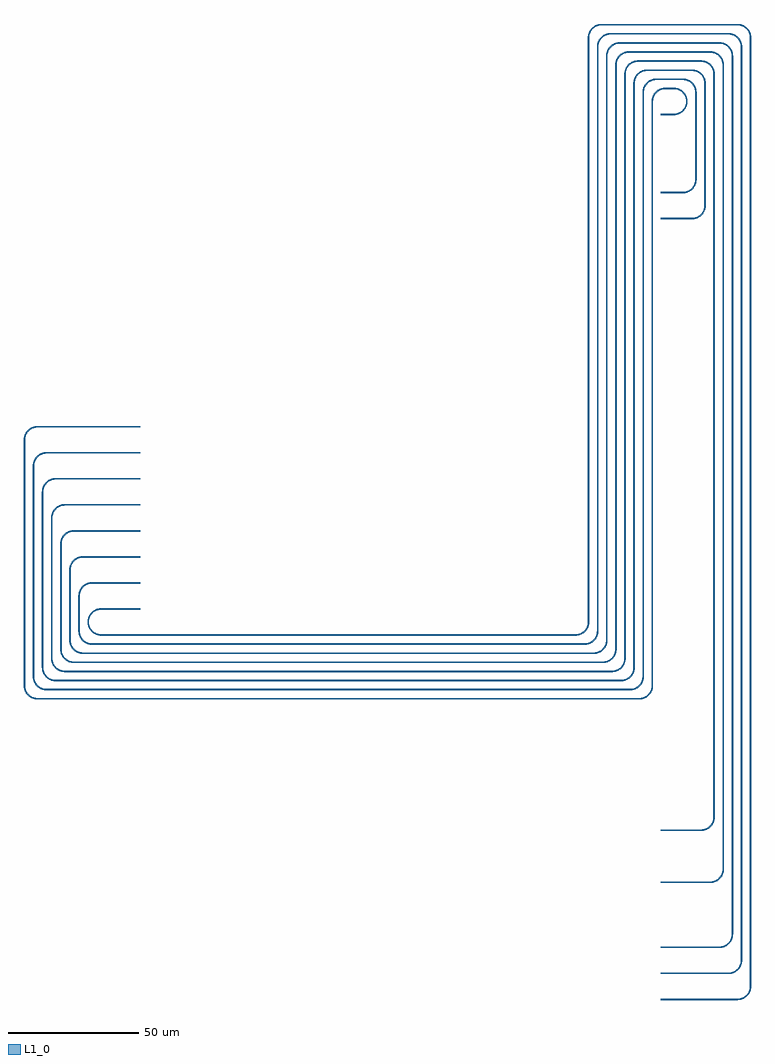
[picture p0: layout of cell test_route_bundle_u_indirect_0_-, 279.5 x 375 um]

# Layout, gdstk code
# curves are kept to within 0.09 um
from math import pi, radians
import gdstk
lib = gdstk.Library(unit=1e-6, precision=1e-09)
def R(c, l, rs):  # rectangles x0, y0, x1, y1
    for r in rs: c.add(gdstk.rectangle(r[:2], r[2:], *l))
def P(c, l, *ps):  # polygons
    for p in ps: c.add(gdstk.Polygon(p, *l))
L1_0 = (1, 0)

straight_gdsfactorypcom_ = lib.new_cell('straight_gdsfactorypcom_8417fc58')
R(straight_gdsfactorypcom_, L1_0, [(0,-0.25,364.5,0.25)])

c_straight_gdsfactorypcom_ = lib.new_cell('straight_gdsfactorypcom_edcb5181')
R(c_straight_gdsfactorypcom_, L1_0, [(0,-0.25,224.5,0.25)])

c_straight_gdsfactorypcom__ = lib.new_cell('straight_gdsfactorypcom_20b59438')
R(c_straight_gdsfactorypcom__, L1_0, [(0,-0.25,182.25,0.25)])

c_straight_gdsfactorypcom___ = lib.new_cell('straight_gdsfactorypcom_01b9a091')
R(c_straight_gdsfactorypcom___, L1_0, [(0,-0.25,351,0.25)])

c_straight_gdsfactorypcom____ = lib.new_cell('straight_gdsfactorypcom_b296d705')
R(c_straight_gdsfactorypcom____, L1_0, [(0,-0.25,189.25,0.25)])

c_straight_gdsfactorypcom_____ = lib.new_cell('straight_gdsfactorypcom_dbdefe28')
R(c_straight_gdsfactorypcom_____, L1_0, [(0,-0.25,337.5,0.25)])

c_straight_gdsfactorypcom______ = lib.new_cell('straight_gdsfactorypcom_ebc55ef1')
R(c_straight_gdsfactorypcom______, L1_0, [(0,-0.25,196.25,0.25)])

c_straight_gdsfactorypcom_______ = lib.new_cell('straight_gdsfactorypcom_8733e8e1')
R(c_straight_gdsfactorypcom_______, L1_0, [(0,-0.25,309,0.25)])

c_straight_gdsfactorypcom________ = lib.new_cell('straight_gdsfactorypcom_ac0ffd27')
R(c_straight_gdsfactorypcom________, L1_0, [(0,-0.25,203.25,0.25)])

c_straight_gdsfactorypcom_________ = lib.new_cell('straight_gdsfactorypcom_a8714b3d')
R(c_straight_gdsfactorypcom_________, L1_0, [(0,-0.25,285.5,0.25)])

c_straight_gdsfactorypcom__________ = lib.new_cell('straight_gdsfactorypcom_e9ce6c8e')
R(c_straight_gdsfactorypcom__________, L1_0, [(0,-0.25,210.25,0.25)])

bend_circular_gdsfactor_ = lib.new_cell('bend_circular_gdsfactor_0c9d0621')
P(bend_circular_gdsfactor_, L1_0, [(0,-0.25),(0,0.25),(0.988,0.354),(1.932,0.661),(2.587,1.016),(3.359,1.641),(3.984,2.413),(4.339,3.068),(4.646,4.012),(4.75,5),(5.25,5),(5.135,3.908),(4.796,2.865),(4.247,1.914),(3.712,1.288),(3.086,0.753),(2.135,0.204),(1.092,-0.135)])

c_straight_gdsfactorypcom___________ = lib.new_cell('straight_gdsfactorypcom_6bdba865')
R(c_straight_gdsfactorypcom___________, L1_0, [(0,-0.25,217.25,0.25)])

c_straight_gdsfactorypcom____________ = lib.new_cell('straight_gdsfactorypcom_1254fcb9')
R(c_straight_gdsfactorypcom____________, L1_0, [(0,-0.25,67.5,0.25)])

c_straight_gdsfactorypcom_____________ = lib.new_cell('straight_gdsfactorypcom_957ae235')
R(c_straight_gdsfactorypcom_____________, L1_0, [(0,-0.25,224.25,0.25)])

c_straight_gdsfactorypcom______________ = lib.new_cell('straight_gdsfactorypcom_6c9425ca')
R(c_straight_gdsfactorypcom______________, L1_0, [(0,-0.25,81,0.25)])

c_straight_gdsfactorypcom_______________ = lib.new_cell('straight_gdsfactorypcom_4bb41971')
R(c_straight_gdsfactorypcom_______________, L1_0, [(0,-0.25,231.25,0.25)])

c_straight_gdsfactorypcom________________ = lib.new_cell('straight_gdsfactorypcom_fe520bd2')
R(c_straight_gdsfactorypcom________________, L1_0, [(0,-0.25,94.5,0.25)])

c_straight_gdsfactorypcom_________________ = lib.new_cell('straight_gdsfactorypcom_619c788f')
R(c_straight_gdsfactorypcom_________________, L1_0, [(0,-0.25,24.25,0.25)])

c_straight_gdsfactorypcom__________________ = lib.new_cell('straight_gdsfactorypcom_d76f548c')
R(c_straight_gdsfactorypcom__________________, L1_0, [(0,-0.25,38.25,0.25)])

c_straight_gdsfactorypcom___________________ = lib.new_cell('straight_gdsfactorypcom_f3e780f9')
R(c_straight_gdsfactorypcom___________________, L1_0, [(0,-0.25,12,0.25)])

c_straight_gdsfactorypcom____________________ = lib.new_cell('straight_gdsfactorypcom_a93c85d6')
R(c_straight_gdsfactorypcom____________________, L1_0, [(0,-0.25,47,0.25)])

c_straight_gdsfactorypcom_____________________ = lib.new_cell('straight_gdsfactorypcom_2e1b5072')
R(c_straight_gdsfactorypcom_____________________, L1_0, [(0,-0.25,17.25,0.25)])

c_straight_gdsfactorypcom______________________ = lib.new_cell('straight_gdsfactorypcom_67743730')
R(c_straight_gdsfactorypcom______________________, L1_0, [(0,-0.25,52.25,0.25)])

c_straight_gdsfactorypcom_______________________ = lib.new_cell('straight_gdsfactorypcom_29adfe89')
R(c_straight_gdsfactorypcom_______________________, L1_0, [(0,-0.25,8.5,0.25)])

c_straight_gdsfactorypcom________________________ = lib.new_cell('straight_gdsfactorypcom_f3b002be')
R(c_straight_gdsfactorypcom________________________, L1_0, [(0,-0.25,33.5,0.25)])

c_straight_gdsfactorypcom_________________________ = lib.new_cell('straight_gdsfactorypcom_f8441c0e')
R(c_straight_gdsfactorypcom_________________________, L1_0, [(0,-0.25,10.25,0.25)])

c_straight_gdsfactorypcom__________________________ = lib.new_cell('straight_gdsfactorypcom_1e25e4af')
R(c_straight_gdsfactorypcom__________________________, L1_0, [(0,-0.25,45.25,0.25)])

c_straight_gdsfactorypcom___________________________ = lib.new_cell('straight_gdsfactorypcom_e8fa81d7')
R(c_straight_gdsfactorypcom___________________________, L1_0, [(0,-0.25,31.25,0.25)])

c_straight_gdsfactorypcom____________________________ = lib.new_cell('straight_gdsfactorypcom_f5657628')
R(c_straight_gdsfactorypcom____________________________, L1_0, [(0,-0.25,5,0.25)])

c_straight_gdsfactorypcom_____________________________ = lib.new_cell('straight_gdsfactorypcom_dbcfb186')
R(c_straight_gdsfactorypcom_____________________________, L1_0, [(0,-0.25,3.25,0.25)])

c_straight_gdsfactorypcom______________________________ = lib.new_cell('straight_gdsfactorypcom_ac2d0620')
R(c_straight_gdsfactorypcom______________________________, L1_0, [(0,-0.25,32.5,0.25)])

c_straight_gdsfactorypcom_______________________________ = lib.new_cell('straight_gdsfactorypcom_056072ab')
R(c_straight_gdsfactorypcom_______________________________, L1_0, [(0,-0.25,36,0.25)])

c_straight_gdsfactorypcom________________________________ = lib.new_cell('straight_gdsfactorypcom_e516d49d')
R(c_straight_gdsfactorypcom________________________________, L1_0, [(0,-0.25,29,0.25)])

c_straight_gdsfactorypcom_________________________________ = lib.new_cell('straight_gdsfactorypcom_18aef842')
R(c_straight_gdsfactorypcom_________________________________, L1_0, [(0,-0.25,39.5,0.25)])

c_straight_gdsfactorypcom__________________________________ = lib.new_cell('straight_gdsfactorypcom_b1e06083')
R(c_straight_gdsfactorypcom__________________________________, L1_0, [(0,-0.25,54,0.25)])

c_straight_gdsfactorypcom___________________________________ = lib.new_cell('straight_gdsfactorypcom_872c1d86')
R(c_straight_gdsfactorypcom___________________________________, L1_0, [(0,-0.25,15,0.25)])

c_straight_gdsfactorypcom____________________________________ = lib.new_cell('straight_gdsfactorypcom_ae74440f')
R(c_straight_gdsfactorypcom____________________________________, L1_0, [(0,-0.25,40.5,0.25)])

c_straight_gdsfactorypcom_____________________________________ = lib.new_cell('straight_gdsfactorypcom_17c3b0b8')
R(c_straight_gdsfactorypcom_____________________________________, L1_0, [(0,-0.25,25.5,0.25)])

c_straight_gdsfactorypcom______________________________________ = lib.new_cell('straight_gdsfactorypcom_5d7bad5d')
R(c_straight_gdsfactorypcom______________________________________, L1_0, [(0,-0.25,13.5,0.25)])

c_straight_gdsfactorypcom_______________________________________ = lib.new_cell('straight_gdsfactorypcom_2bf0a6ae')
R(c_straight_gdsfactorypcom_______________________________________, L1_0, [(0,-0.25,27,0.25)])

c_straight_gdsfactorypcom________________________________________ = lib.new_cell('straight_gdsfactorypcom_d5b5a5a4')
R(c_straight_gdsfactorypcom________________________________________, L1_0, [(0,-0.25,22,0.25)])

c_straight_gdsfactorypcom_________________________________________ = lib.new_cell('straight_gdsfactorypcom_a9db5d26')
R(c_straight_gdsfactorypcom_________________________________________, L1_0, [(0,-0.25,18.5,0.25)])

c_straight_gdsfactorypcom__________________________________________ = lib.new_cell('straight_gdsfactorypcom_a1f03c60')
R(c_straight_gdsfactorypcom__________________________________________, L1_0, [(0,-0.25,15.5,0.25)])

c_straight_gdsfactorypcom___________________________________________ = lib.new_cell('straight_gdsfactorypcom_04b0d241')
R(c_straight_gdsfactorypcom___________________________________________, L1_0, [(0,-0.25,19,0.25)])

c_straight_gdsfactorypcom____________________________________________ = lib.new_cell('straight_gdsfactorypcom_4c7e8790')
R(c_straight_gdsfactorypcom____________________________________________, L1_0, [(0,-0.25,29.5,0.25)])

c_straight_gdsfactorypcom_____________________________________________ = lib.new_cell('straight_gdsfactorypcom_90bf7c3d')
R(c_straight_gdsfactorypcom_____________________________________________, L1_0, [(0,-0.25,22.5,0.25)])

c_straight_gdsfactorypcom______________________________________________ = lib.new_cell('straight_gdsfactorypcom_3da9e238')
R(c_straight_gdsfactorypcom______________________________________________, L1_0, [(0,-0.25,26,0.25)])

test_route_bundle_u_indi = lib.new_cell('test_route_bundle_u_indirect_0_-')
test_route_bundle_u_indi.add(gdstk.Reference(straight_gdsfactorypcom_, (34.5,-95), rotation=pi/2))
test_route_bundle_u_indi.add(gdstk.Reference(c_straight_gdsfactorypcom_, (-27.75,269.5), rotation=3*pi/2))
test_route_bundle_u_indi.add(gdstk.Reference(c_straight_gdsfactorypcom__, (-32.75,40), rotation=pi))
test_route_bundle_u_indi.add(gdstk.Reference(c_straight_gdsfactorypcom___, (31,-85), rotation=pi/2))
test_route_bundle_u_indi.add(gdstk.Reference(c_straight_gdsfactorypcom_, (-24.25,266), rotation=3*pi/2))
test_route_bundle_u_indi.add(gdstk.Reference(c_straight_gdsfactorypcom____, (-29.25,36.5), rotation=pi))
test_route_bundle_u_indi.add(gdstk.Reference(c_straight_gdsfactorypcom_____, (27.5,-75), rotation=pi/2))
test_route_bundle_u_indi.add(gdstk.Reference(c_straight_gdsfactorypcom_, (-20.75,262.5), rotation=3*pi/2))
test_route_bundle_u_indi.add(gdstk.Reference(c_straight_gdsfactorypcom______, (-25.75,33), rotation=pi))
test_route_bundle_u_indi.add(gdstk.Reference(c_straight_gdsfactorypcom_______, (24,-50), rotation=pi/2))
test_route_bundle_u_indi.add(gdstk.Reference(c_straight_gdsfactorypcom_, (-17.25,259), rotation=3*pi/2))
test_route_bundle_u_indi.add(gdstk.Reference(c_straight_gdsfactorypcom________, (-22.25,29.5), rotation=pi))
test_route_bundle_u_indi.add(gdstk.Reference(c_straight_gdsfactorypcom_________, (20.5,-30), rotation=pi/2))
test_route_bundle_u_indi.add(gdstk.Reference(c_straight_gdsfactorypcom_, (-13.75,255.5), rotation=3*pi/2))
test_route_bundle_u_indi.add(gdstk.Reference(c_straight_gdsfactorypcom__________, (-18.75,26), rotation=pi))
test_route_bundle_u_indi.add(gdstk.Reference(bend_circular_gdsfactor_, (-229,90), rotation=pi))
test_route_bundle_u_indi.add(gdstk.Reference(c_straight_gdsfactorypcom_, (-10.25,252), rotation=3*pi/2))
test_route_bundle_u_indi.add(gdstk.Reference(c_straight_gdsfactorypcom___________, (-15.25,22.5), rotation=pi))
test_route_bundle_u_indi.add(gdstk.Reference(c_straight_gdsfactorypcom____________, (-237.5,27.5), rotation=pi/2))
test_route_bundle_u_indi.add(gdstk.Reference(c_straight_gdsfactorypcom_, (-6.75,248.5), rotation=3*pi/2))
test_route_bundle_u_indi.add(gdstk.Reference(c_straight_gdsfactorypcom_____________, (-11.75,19), rotation=pi))
test_route_bundle_u_indi.add(gdstk.Reference(c_straight_gdsfactorypcom______________, (-241,24), rotation=pi/2))
test_route_bundle_u_indi.add(gdstk.Reference(c_straight_gdsfactorypcom_, (-3.25,245), rotation=3*pi/2))
test_route_bundle_u_indi.add(gdstk.Reference(c_straight_gdsfactorypcom_______________, (-8.25,15.5), rotation=pi))
test_route_bundle_u_indi.add(gdstk.Reference(c_straight_gdsfactorypcom________________, (-244.5,20.5), rotation=pi/2))
test_route_bundle_u_indi.add(gdstk.Reference(bend_circular_gdsfactor_, (22.5,267.5), x_reflection=True))
test_route_bundle_u_indi.add(gdstk.Reference(bend_circular_gdsfactor_, (-13.75,255.5), rotation=pi/2, x_reflection=True))
test_route_bundle_u_indi.add(gdstk.Reference(c_straight_gdsfactorypcom_________________, (15.5,260.5), rotation=pi))
test_route_bundle_u_indi.add(gdstk.Reference(bend_circular_gdsfactor_, (26,271), x_reflection=True))
test_route_bundle_u_indi.add(gdstk.Reference(bend_circular_gdsfactor_, (-20.75,262.5), rotation=pi/2, x_reflection=True))
test_route_bundle_u_indi.add(gdstk.Reference(c_straight_gdsfactorypcom__________________, (22.5,267.5), rotation=pi))
test_route_bundle_u_indi.add(gdstk.Reference(bend_circular_gdsfactor_, (17,205), rotation=3*pi/2, x_reflection=True))
test_route_bundle_u_indi.add(gdstk.Reference(c_straight_gdsfactorypcom___________________, (0,200)))
test_route_bundle_u_indi.add(gdstk.Reference(bend_circular_gdsfactor_, (12,257), x_reflection=True))
test_route_bundle_u_indi.add(gdstk.Reference(c_straight_gdsfactorypcom____________________, (17,205), rotation=pi/2))
test_route_bundle_u_indi.add(gdstk.Reference(bend_circular_gdsfactor_, (-10.25,252), rotation=pi/2, x_reflection=True))
test_route_bundle_u_indi.add(gdstk.Reference(c_straight_gdsfactorypcom_____________________, (12,257), rotation=pi))
test_route_bundle_u_indi.add(gdstk.Reference(c_straight_gdsfactorypcom______________________, (29.5,274.5), rotation=pi))
test_route_bundle_u_indi.add(gdstk.Reference(bend_circular_gdsfactor_, (-24.25,266), rotation=pi/2, x_reflection=True))
test_route_bundle_u_indi.add(gdstk.Reference(bend_circular_gdsfactor_, (19,264), x_reflection=True))
test_route_bundle_u_indi.add(gdstk.Reference(bend_circular_gdsfactor_, (13.5,215), rotation=3*pi/2, x_reflection=True))
test_route_bundle_u_indi.add(gdstk.Reference(c_straight_gdsfactorypcom_______________________, (0,210)))
test_route_bundle_u_indi.add(gdstk.Reference(bend_circular_gdsfactor_, (8.5,253.5), x_reflection=True))
test_route_bundle_u_indi.add(gdstk.Reference(c_straight_gdsfactorypcom________________________, (13.5,215), rotation=pi/2))
test_route_bundle_u_indi.add(gdstk.Reference(bend_circular_gdsfactor_, (-6.75,248.5), rotation=pi/2, x_reflection=True))
test_route_bundle_u_indi.add(gdstk.Reference(c_straight_gdsfactorypcom_________________________, (8.5,253.5), rotation=pi))
test_route_bundle_u_indi.add(gdstk.Reference(c_straight_gdsfactorypcom__________________________, (26,271), rotation=pi))
test_route_bundle_u_indi.add(gdstk.Reference(bend_circular_gdsfactor_, (-17.25,259), rotation=pi/2, x_reflection=True))
test_route_bundle_u_indi.add(gdstk.Reference(c_straight_gdsfactorypcom___________________________, (19,264), rotation=pi))
test_route_bundle_u_indi.add(gdstk.Reference(bend_circular_gdsfactor_, (10,245), rotation=3*pi/2, x_reflection=True))
test_route_bundle_u_indi.add(gdstk.Reference(c_straight_gdsfactorypcom____________________________, (0,240)))
test_route_bundle_u_indi.add(gdstk.Reference(bend_circular_gdsfactor_, (5,250), x_reflection=True))
test_route_bundle_u_indi.add(gdstk.Reference(bend_circular_gdsfactor_, (-3.25,245), rotation=pi/2, x_reflection=True))
test_route_bundle_u_indi.add(gdstk.Reference(c_straight_gdsfactorypcom_____________________________, (5,250), rotation=pi))
test_route_bundle_u_indi.add(gdstk.Reference(bend_circular_gdsfactor_, (29.5,274.5), x_reflection=True))
test_route_bundle_u_indi.add(gdstk.Reference(bend_circular_gdsfactor_, (-27.75,269.5), rotation=pi/2, x_reflection=True))
test_route_bundle_u_indi.add(gdstk.Reference(bend_circular_gdsfactor_, (15.5,260.5), x_reflection=True))
test_route_bundle_u_indi.add(gdstk.Reference(c_straight_gdsfactorypcom______________________________, (-232.5,100)))
test_route_bundle_u_indi.add(gdstk.Reference(c_straight_gdsfactorypcom_______________________________, (-236,110)))
test_route_bundle_u_indi.add(gdstk.Reference(bend_circular_gdsfactor_, (-232.5,100), rotation=pi))
test_route_bundle_u_indi.add(gdstk.Reference(c_straight_gdsfactorypcom________________________________, (-229,90)))
test_route_bundle_u_indi.add(gdstk.Reference(bend_circular_gdsfactor_, (-239.5,120), rotation=pi))
test_route_bundle_u_indi.add(gdstk.Reference(bend_circular_gdsfactor_, (-236,110), rotation=pi))
test_route_bundle_u_indi.add(gdstk.Reference(c_straight_gdsfactorypcom_________________________________, (-239.5,120)))
test_route_bundle_u_indi.add(gdstk.Reference(bend_circular_gdsfactor_, (-220,45), rotation=3*pi/2))
test_route_bundle_u_indi.add(gdstk.Reference(c_straight_gdsfactorypcom__________________________________, (-234,31), rotation=pi/2))
test_route_bundle_u_indi.add(gdstk.Reference(bend_circular_gdsfactor_, (-215,50), rotation=pi))
test_route_bundle_u_indi.add(gdstk.Reference(bend_circular_gdsfactor_, (-223.5,41.5), rotation=3*pi/2))
test_route_bundle_u_indi.add(gdstk.Reference(bend_circular_gdsfactor_, (-241,24), rotation=3*pi/2))
test_route_bundle_u_indi.add(gdstk.Reference(c_straight_gdsfactorypcom___________________________________, (-215,50)))
test_route_bundle_u_indi.add(gdstk.Reference(bend_circular_gdsfactor_, (-230.5,34.5), rotation=3*pi/2))
test_route_bundle_u_indi.add(gdstk.Reference(bend_circular_gdsfactor_, (-218.5,60), rotation=pi))
test_route_bundle_u_indi.add(gdstk.Reference(bend_circular_gdsfactor_, (-225.5,80), rotation=pi))
test_route_bundle_u_indi.add(gdstk.Reference(c_straight_gdsfactorypcom____________________________________, (-230.5,34.5), rotation=pi/2))
test_route_bundle_u_indi.add(gdstk.Reference(c_straight_gdsfactorypcom_____________________________________, (-225.5,80)))
test_route_bundle_u_indi.add(gdstk.Reference(bend_circular_gdsfactor_, (-237.5,27.5), rotation=3*pi/2))
test_route_bundle_u_indi.add(gdstk.Reference(bend_circular_gdsfactor_, (-227,38), rotation=3*pi/2))
test_route_bundle_u_indi.add(gdstk.Reference(c_straight_gdsfactorypcom______________________________________, (-223.5,41.5), rotation=pi/2))
test_route_bundle_u_indi.add(gdstk.Reference(bend_circular_gdsfactor_, (-222,70), rotation=pi))
test_route_bundle_u_indi.add(gdstk.Reference(bend_circular_gdsfactor_, (-244.5,20.5), rotation=3*pi/2))
test_route_bundle_u_indi.add(gdstk.Reference(c_straight_gdsfactorypcom_______________________________________, (-227,38), rotation=pi/2))
test_route_bundle_u_indi.add(gdstk.Reference(c_straight_gdsfactorypcom________________________________________, (-222,70)))
test_route_bundle_u_indi.add(gdstk.Reference(bend_circular_gdsfactor_, (-234,31), rotation=3*pi/2))
test_route_bundle_u_indi.add(gdstk.Reference(c_straight_gdsfactorypcom_________________________________________, (-218.5,60)))
test_route_bundle_u_indi.add(gdstk.Reference(c_straight_gdsfactorypcom__________________________________________, (0,-35)))
test_route_bundle_u_indi.add(gdstk.Reference(c_straight_gdsfactorypcom___________________________________________, (0,-55)))
test_route_bundle_u_indi.add(gdstk.Reference(bend_circular_gdsfactor_, (34.5,-95), rotation=3*pi/2, x_reflection=True))
test_route_bundle_u_indi.add(gdstk.Reference(bend_circular_gdsfactor_, (-15.25,22.5)))
test_route_bundle_u_indi.add(gdstk.Reference(c_straight_gdsfactorypcom____________________________________________, (0,-100)))
test_route_bundle_u_indi.add(gdstk.Reference(bend_circular_gdsfactor_, (-25.75,33)))
test_route_bundle_u_indi.add(gdstk.Reference(bend_circular_gdsfactor_, (-18.75,26)))
test_route_bundle_u_indi.add(gdstk.Reference(bend_circular_gdsfactor_, (31,-85), rotation=3*pi/2, x_reflection=True))
test_route_bundle_u_indi.add(gdstk.Reference(bend_circular_gdsfactor_, (-22.25,29.5)))
test_route_bundle_u_indi.add(gdstk.Reference(bend_circular_gdsfactor_, (-29.25,36.5)))
test_route_bundle_u_indi.add(gdstk.Reference(bend_circular_gdsfactor_, (27.5,-75), rotation=3*pi/2, x_reflection=True))
test_route_bundle_u_indi.add(gdstk.Reference(bend_circular_gdsfactor_, (-8.25,15.5)))
test_route_bundle_u_indi.add(gdstk.Reference(c_straight_gdsfactorypcom_____________________________________________, (0,-80)))
test_route_bundle_u_indi.add(gdstk.Reference(c_straight_gdsfactorypcom______________________________________________, (0,-90)))
test_route_bundle_u_indi.add(gdstk.Reference(bend_circular_gdsfactor_, (-32.75,40)))
test_route_bundle_u_indi.add(gdstk.Reference(bend_circular_gdsfactor_, (24,-50), rotation=3*pi/2, x_reflection=True))
test_route_bundle_u_indi.add(gdstk.Reference(bend_circular_gdsfactor_, (20.5,-30), rotation=3*pi/2, x_reflection=True))
test_route_bundle_u_indi.add(gdstk.Reference(bend_circular_gdsfactor_, (-11.75,19)))

lib.write_gds('test_route_bundle_u_indirect_0_-.gds')
